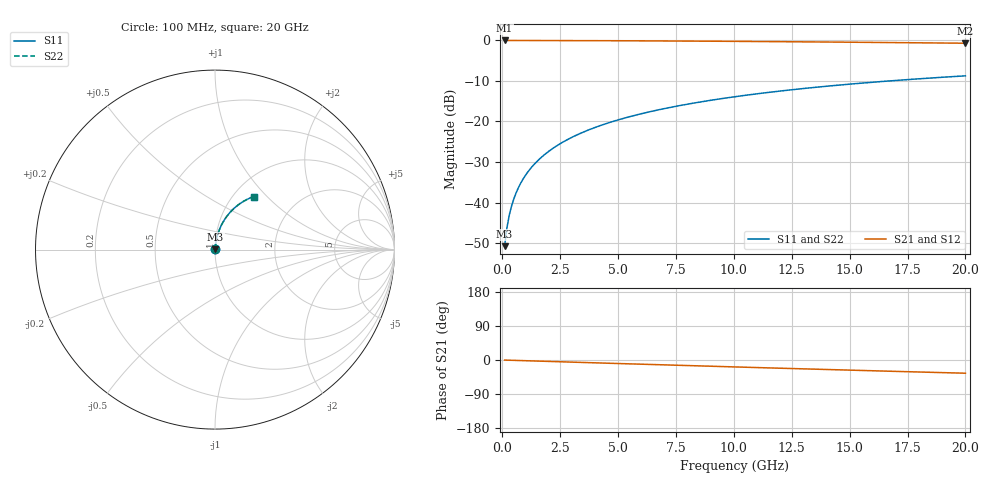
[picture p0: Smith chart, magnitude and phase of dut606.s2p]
! Touchstone file exported from HFSS 2026.1.0
!  File:  C:/ffzhzh/LocalFiles/Ansys_Project_Files/temp_train_BSMRDL_606_1783016160_55676.aedt
!  Generated:  02:17:29 AM Jul  3, 2026
!  Design:  BSMRDL
!  Project:  temp_train_BSMRDL_606_1783016160_55676
! Variables:
!  h_bsmrdl = 4.69um
!  h_ox = 20um
!  h_rdl = 5um
!  h_sub = 80um
!  h_tmrdl = 5um
!  h_tsv = 80um
!  h_via = 3um
!  l_bsmrdl = 460.56um
!  l_sub = 860.56um
!  l_tmrdl = 200um
!  m_sub = 200um
!  pitch = 57.44um
!  r_tsv = 6um
!  s_tmrdl = 10um
!  w_bsmrdl = 21.03um
!  w_sub = 500um
!  w_tmrdl = 12um
!  x_tsv_center1 = 206um
!  x_tsv_center2 = 687.59um
!  x_tsv_center3 = 899.59um
!  x_tsv_center4 = 1381.18um
!  x_tsv_center5 = 1593.18um
!  x_tsv_center6 = 2074.77um
# GHz S MA R 50.000000
! Terminal data exported
! Port[1] = BSM_RDL1_1_T1
! Port[2] = BSM_RDL1_1_T2
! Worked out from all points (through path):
!   200 points, 100 MHz to 20 GHz, reference 50 ohm
!   highest |S21| = -0.02 dB at 100 MHz (marker M1); lowest = -0.7 dB at 20 GHz (marker M2)
!   group delay of S21, straight-line fit = 4.85 ps
!   lowest |S11| = -50.8 dB at 100 MHz (marker M3), VSWR 1.01, Z = 50.2 + j0.227 ohm
!   |S11| at or under -10 dB: start of sweep to 16.71 GHz
!   |S22| runs from -50.8 to -8.7 dB; largest |S21 - S12| = 8.7e-15
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0.1  0.002899 51.2  0.9982 -0.2  0.9982 -0.2  0.002899 51.2
! Gamma 0 0 0 0
! Port Impedance 50 0 50 0
0.2  0.004873 66.8  0.9981 -0.4  0.9981 -0.4  0.004873 66.8
0.3  0.006957 72.9  0.998 -0.6  0.998 -0.6  0.006958 72.9
0.4  0.009053 76.0  0.9979 -0.8  0.9979 -0.8  0.009053 76.0
0.5  0.01115 78.0  0.9978 -1.0  0.9978 -1.0  0.01115 78.0
0.7  0.01534 80.3  0.9977 -1.3  0.9977 -1.3  0.01534 80.3
0.8  0.01744 81.0  0.9976 -1.5  0.9976 -1.5  0.01744 81.0
1  0.02165 81.9  0.9975 -1.9  0.9975 -1.9  0.02165 81.9
1.2  0.02587 82.4  0.9973 -2.3  0.9973 -2.3  0.02587 82.4
1.4  0.03009 82.6  0.9972 -2.6  0.9972 -2.6  0.03009 82.6
1.7  0.03641 82.7  0.9968 -3.2  0.9968 -3.2  0.03641 82.7
2  0.04273 82.6  0.9965 -3.8  0.9965 -3.8  0.04273 82.6
2.7  0.05739 81.9  0.9954 -5.1  0.9954 -5.1  0.05739 81.9
3.5  0.07399 80.8  0.9939 -6.6  0.9939 -6.6  0.07399 80.8
4.2  0.08835 79.7  0.9923 -7.8  0.9923 -7.8  0.08835 79.7
5  0.1046 78.4  0.9903 -9.3  0.9903 -9.3  0.1046 78.4
6.8  0.1403 75.4  0.9851 -12.6  0.9851 -12.6  0.1403 75.4
8.3  0.1693 72.9  0.9799 -15.2  0.9799 -15.2  0.1693 72.9
10.1  0.203 69.8  0.973 -18.4  0.973 -18.4  0.203 69.8
13.4  0.2618 64.4  0.9581 -24.1  0.9581 -24.1  0.2618 64.4
16.7  0.316 59.0  0.9411 -29.6  0.9411 -29.6  0.3161 59.0
20  0.3654 53.9  0.9228 -34.9  0.9228 -34.9  0.3654 53.9
